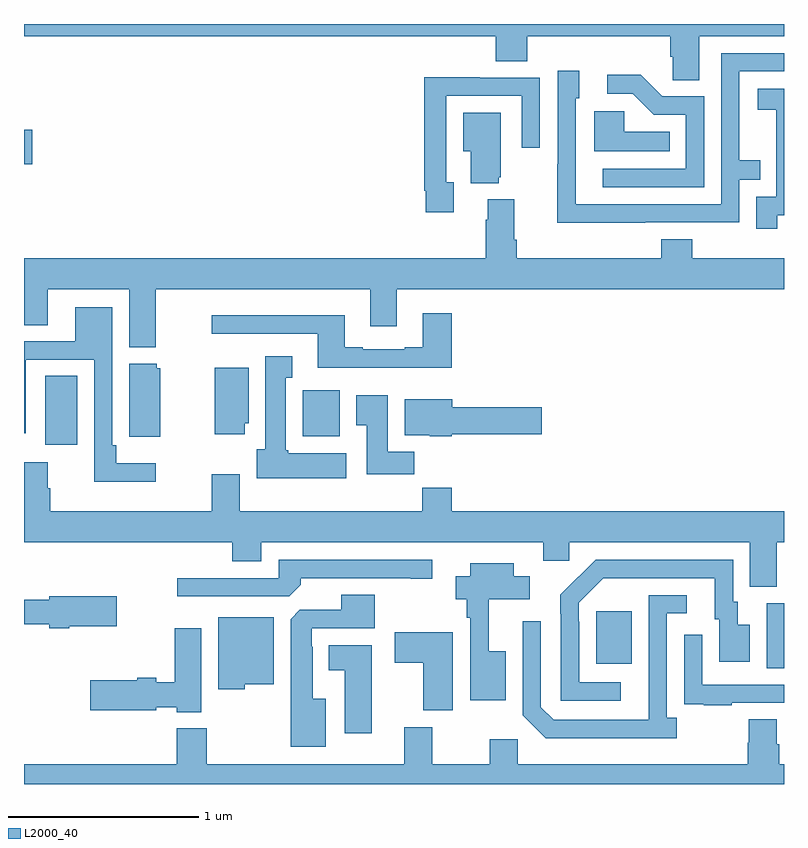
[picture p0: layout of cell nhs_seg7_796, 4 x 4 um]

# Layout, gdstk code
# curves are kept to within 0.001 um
import gdstk
lib = gdstk.Library(unit=1e-6, precision=1e-09)
def R(c, l, rs):  # rectangles x0, y0, x1, y1
    for r in rs: c.add(gdstk.rectangle(r[:2], r[2:], *l))
def P(c, l, *ps):  # polygons
    for p in ps: c.add(gdstk.Polygon(p, *l))
L2000_40 = (2000, 40)

nhs_seg7_796 = lib.new_cell('nhs_seg7_796')
R(nhs_seg7_796, L2000_40, [(174.908,1010.608,175,1010.952), (174.011,1010.633,174.199,1010.908), (171.113,1011.786,171.28,1012.148), (172.466,1011.83,172.663,1012.072), (171,1013.261,171.043,1013.444)])
P(nhs_seg7_796, L2000_40, [(174.553,1013.936),(175,1013.936),(175,1014),(171,1014),(171,1013.936),(173.483,1013.936),(173.483,1013.803),(173.648,1013.803),(173.648,1013.936),(174.401,1013.936),(174.401,1013.827),(174.414,1013.827),(174.414,1013.704),(174.553,1013.704)],
  [(174.269,1012.956),(174.765,1012.956),(174.765,1013.181),(174.875,1013.181),(174.875,1013.282),(174.765,1013.282),(174.765,1013.751),(175,1013.751),(175,1013.847),(174.669,1013.847),(174.669,1013.052),(173.905,1013.052),(173.905,1013.306),(173.904,1013.306),(173.904,1013.61),(173.923,1013.61),(173.923,1013.755),(173.808,1013.755),(173.808,1013.261),(173.806,1013.261),(173.806,1012.955),(174.269,1012.955)],
  [(174.579,1013.619),(174.36,1013.619),(174.247,1013.732),(174.069,1013.732),(174.069,1013.634),(174.203,1013.634),(174.314,1013.523),(174.483,1013.523),(174.483,1013.238),(174.045,1013.238),(174.045,1013.142),(174.579,1013.142)],
  [(173.263,1013.166),(173.223,1013.166),(173.223,1013.622),(173.619,1013.622),(173.619,1013.349),(173.715,1013.349),(173.715,1013.718),(173.399,1013.718),(173.399,1013.72),(173.107,1013.72),(173.107,1013.122),(173.115,1013.122),(173.115,1013.01),(173.263,1013.01)],
  [(174.964,1012.993),(175,1012.993),(175,1013.659),(174.861,1013.659),(174.861,1013.549),(174.959,1013.549),(174.959,1013.321),(174.96,1013.321),(174.96,1013.091),(174.855,1013.091),(174.855,1012.923),(174.964,1012.923)],
  [(174.398,1013.434),(174.159,1013.434),(174.159,1013.542),(174.002,1013.542),(174.002,1013.33),(174.398,1013.33)],
  [(173.498,1013.193),(173.509,1013.193),(173.509,1013.533),(173.312,1013.533),(173.312,1013.33),(173.351,1013.33),(173.351,1013.162),(173.498,1013.162)],
  [(174.353,1012.867),(174.353,1012.768),(173.594,1012.768),(173.594,1012.864),(173.581,1012.864),(173.581,1013.077),(173.441,1013.077),(173.441,1012.97),(173.429,1012.97),(173.429,1012.768),(171,1012.768),(171,1012.414),(171.124,1012.414),(171.124,1012.604),(171.554,1012.604),(171.554,1012.298),(171.693,1012.298),(171.693,1012.604),(172.823,1012.604),(172.823,1012.41),(172.963,1012.41),(172.963,1012.604),(175,1012.604),(175,1012.768),(174.518,1012.768),(174.518,1012.867)],
  [(171.694,1011.688),(171.485,1011.688),(171.485,1011.784),(171.465,1011.784),(171.465,1012.51),(171.269,1012.51),(171.269,1012.329),(171,1012.329),(171,1011.846),(171.009,1011.846),(171.009,1012.233),(171.369,1012.233),(171.369,1011.59),(171.694,1011.59)],
  [(173.252,1012.477),(173.099,1012.477),(173.099,1012.3),(173.003,1012.3),(173.003,1012.287),(172.783,1012.287),(172.783,1012.3),(172.687,1012.3),(172.687,1012.468),(171.987,1012.468),(171.987,1012.371),(172.547,1012.371),(172.547,1012.19),(173.252,1012.19)],
  [(172.696,1011.742),(172.392,1011.742),(172.392,1011.756),(172.378,1011.756),(172.378,1012.139),(172.411,1012.139),(172.411,1012.252),(172.271,1012.252),(172.271,1011.762),(172.226,1011.762),(172.226,1011.608),(172.696,1011.608)],
  [(171.718,1012.188),(171.699,1012.188),(171.699,1012.213),(171.554,1012.213),(171.554,1011.827),(171.718,1011.827)],
  [(172.162,1011.9),(172.183,1011.9),(172.183,1012.192),(172.004,1012.192),(172.004,1011.84),(172.162,1011.84)],
  [(173.054,1011.748),(172.915,1011.748),(172.915,1012.045),(172.748,1012.045),(172.748,1011.889),(172.805,1011.889),(172.805,1011.63),(173.054,1011.63)],
  [(173.25,1011.841),(173.725,1011.841),(173.725,1011.983),(173.254,1011.983),(173.254,1012.024),(173.003,1012.024),(173.003,1011.836),(173.136,1011.836),(173.136,1011.83),(173.25,1011.83)],
  [(174.961,1011.272),(175,1011.272),(175,1011.436),(173.252,1011.436),(173.252,1011.56),(173.095,1011.56),(173.095,1011.436),(172.135,1011.436),(172.135,1011.631),(171.988,1011.631),(171.988,1011.436),(171.137,1011.436),(171.137,1011.557),(171.124,1011.557),(171.124,1011.694),(171,1011.694),(171,1011.272),(172.097,1011.272),(172.097,1011.173),(172.249,1011.173),(172.249,1011.272),(173.732,1011.272),(173.732,1011.174),(173.871,1011.174),(173.871,1011.272),(174.821,1011.272),(174.821,1011.037),(174.961,1011.037)],
  [(174.142,1010.535),(173.922,1010.535),(173.922,1010.855),(173.919,1010.855),(173.919,1010.955),(174.048,1011.084),(174.635,1011.084),(174.635,1010.868),(174.659,1010.868),(174.659,1010.643),(174.82,1010.643),(174.82,1010.839),(174.757,1010.839),(174.757,1010.958),(174.732,1010.958),(174.732,1011.18),(174.008,1011.18),(173.917,1011.089),(173.916,1011.09),(173.823,1010.996),(173.823,1010.897),(173.826,1010.897),(173.826,1010.439),(174.142,1010.439)],
  [(172.457,1011.05),(172.457,1011.084),(173.036,1011.084),(173.036,1011.079),(173.149,1011.079),(173.149,1011.18),(172.341,1011.18),(172.341,1011.084),(171.807,1011.084),(171.807,1010.988),(172.395,1010.988)],
  [(173.536,1010.698),(173.447,1010.698),(173.447,1010.972),(173.662,1010.972),(173.662,1011.094),(173.578,1011.094),(173.578,1011.163),(173.348,1011.163),(173.348,1011.094),(173.273,1011.094),(173.273,1010.972),(173.329,1010.972),(173.329,1010.876),(173.349,1010.876),(173.349,1010.441),(173.536,1010.441)],
  [(172.588,1010.449),(172.519,1010.449),(172.519,1010.723),(172.515,1010.723),(172.515,1010.82),(172.846,1010.82),(172.846,1010.995),(172.67,1010.995),(172.67,1010.916),(172.452,1010.916),(172.403,1010.867),(172.403,1010.195),(172.588,1010.195)],
  [(174.436,1010.35),(174.384,1010.35),(174.384,1010.898),(174.487,1010.898),(174.487,1010.994),(174.288,1010.994),(174.287,1010.337),(173.787,1010.337),(173.721,1010.403),(173.721,1010.857),(173.625,1010.857),(173.625,1010.361),(173.746,1010.24),(174.436,1010.24)],
  [(171.238,1010.831),(171.487,1010.831),(171.487,1010.989),(171.134,1010.989),(171.134,1010.971),(171,1010.971),(171,1010.842),(171.134,1010.842),(171.134,1010.819),(171.238,1010.819)],
  [(172.161,1010.525),(172.315,1010.525),(172.315,1010.878),(172.022,1010.878),(172.022,1010.498),(172.161,1010.498)],
  [(171.934,1010.821),(171.793,1010.821),(171.793,1010.535),(171.696,1010.535),(171.696,1010.558),(171.596,1010.558),(171.596,1010.545),(171.348,1010.545),(171.348,1010.387),(171.696,1010.387),(171.696,1010.405),(171.804,1010.405),(171.804,1010.378),(171.934,1010.378)],
  [(173.257,1010.8),(172.95,1010.8),(172.95,1010.638),(173.102,1010.638),(173.102,1010.387),(173.257,1010.387)],
  [(174.725,1010.427),(175,1010.427),(175,1010.523),(174.57,1010.523),(174.57,1010.785),(174.474,1010.785),(174.474,1010.53),(174.475,1010.53),(174.475,1010.421),(174.577,1010.421),(174.577,1010.415),(174.725,1010.415)],
  [(172.831,1010.731),(172.604,1010.731),(172.604,1010.6),(172.688,1010.6),(172.688,1010.268),(172.831,1010.268)],
  [(171,1010),(175,1010),(175,1010.104),(174.974,1010.104),(174.974,1010.21),(174.961,1010.21),(174.961,1010.342),(174.814,1010.342),(174.814,1010.217),(174.809,1010.217),(174.809,1010.104),(173.598,1010.104),(173.598,1010.236),(173.452,1010.236),(173.452,1010.104),(173.148,1010.104),(173.148,1010.299),(173,1010.299),(173,1010.104),(171.963,1010.104),(171.963,1010.293),(171.803,1010.293),(171.803,1010.104),(171,1010.104)])

lib.write_gds('nhs_seg7_796.gds')
